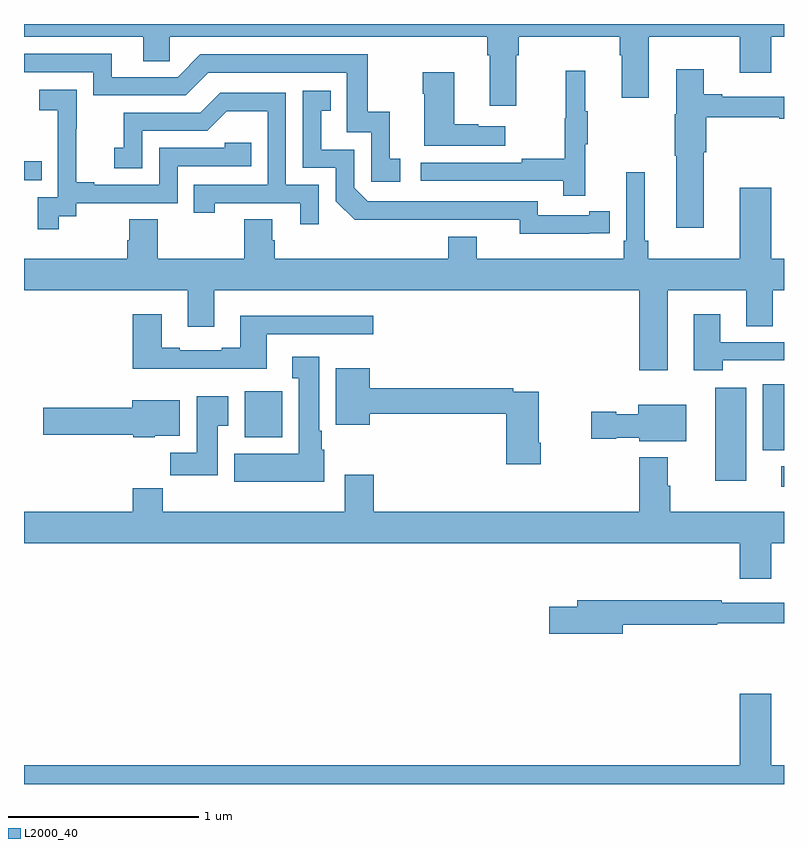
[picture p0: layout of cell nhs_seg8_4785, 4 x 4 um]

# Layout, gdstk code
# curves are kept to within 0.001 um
import gdstk
lib = gdstk.Library(unit=1e-6, precision=1e-09)
def R(c, l, rs):  # rectangles x0, y0, x1, y1
    for r in rs: c.add(gdstk.rectangle(r[:2], r[2:], *l))
def P(c, l, *ps):  # polygons
    for p in ps: c.add(gdstk.Polygon(p, *l))
L2000_40 = (2000, 40)

nhs_seg8_4785 = lib.new_cell('nhs_seg8_4785')
R(nhs_seg8_4785, L2000_40, [(404.985,1115.465,405,1115.572), (404.639,1115.496,404.8,1115.986), (404.888,1115.657,405,1116.004), (402.161,1115.726,402.358,1115.968), (401,1117.077,401.093,1117.178)])
P(nhs_seg8_4785, L2000_40, [(403.591,1117.736),(403.604,1117.736),(403.604,1117.832),(404.135,1117.832),(404.135,1117.736),(404.147,1117.736),(404.147,1117.512),(404.287,1117.512),(404.287,1117.832),(404.768,1117.832),(404.768,1117.644),(404.932,1117.644),(404.932,1117.832),(405,1117.832),(405,1117.9),(401,1117.9),(401,1117.832),(401.627,1117.832),(401.627,1117.705),(401.766,1117.705),(401.766,1117.832),(403.439,1117.832),(403.439,1117.736),(403.451,1117.736),(403.451,1117.47),(403.591,1117.47)],
  [(402.979,1117.191),(402.926,1117.191),(402.926,1117.438),(402.808,1117.438),(402.808,1117.74),(401.928,1117.74),(401.808,1117.62),(401.461,1117.62),(401.461,1117.743),(401,1117.743),(401,1117.647),(401.364,1117.647),(401.364,1117.524),(401.85,1117.524),(401.97,1117.644),(402.699,1117.644),(402.699,1117.329),(402.828,1117.329),(402.828,1117.071),(402.979,1117.071)],
  [(404.578,1117.225),(404.591,1117.225),(404.591,1117.41),(404.974,1117.41),(404.974,1117.402),(405,1117.402),(405,1117.518),(404.674,1117.518),(404.674,1117.531),(404.578,1117.531),(404.578,1117.663),(404.432,1117.663),(404.432,1117.425),(404.425,1117.425),(404.425,1117.207),(404.432,1117.207),(404.432,1116.828),(404.578,1116.828)],
  [(403.955,1117.267),(403.966,1117.267),(403.966,1117.441),(403.955,1117.441),(403.955,1117.654),(403.852,1117.654),(403.852,1117.404),(403.845,1117.404),(403.845,1117.19),(403.621,1117.19),(403.621,1117.17),(403.089,1117.17),(403.089,1117.074),(403.837,1117.074),(403.837,1116.996),(403.955,1116.996)],
  [(403.534,1117.363),(403.391,1117.363),(403.391,1117.373),(403.264,1117.373),(403.264,1117.645),(403.099,1117.645),(403.099,1117.532),(403.106,1117.532),(403.106,1117.259),(403.534,1117.259)],
  [(401.182,1116.889),(401.274,1116.889),(401.274,1116.957),(401.808,1116.957),(401.808,1117.152),(402.197,1117.152),(402.197,1117.275),(402.057,1117.275),(402.057,1117.248),(401.712,1117.248),(401.712,1117.053),(401.371,1117.053),(401.371,1117.066),(401.276,1117.066),(401.276,1117.349),(401.277,1117.349),(401.277,1117.555),(401.079,1117.555),(401.079,1117.445),(401.177,1117.445),(401.177,1117.217),(401.178,1117.217),(401.178,1116.987),(401.073,1116.987),(401.073,1116.819),(401.182,1116.819)],
  [(403.976,1116.798),(404.084,1116.798),(404.084,1116.914),(403.976,1116.914),(403.976,1116.894),(403.704,1116.894),(403.704,1116.966),(402.81,1116.966),(402.738,1117.038),(402.738,1117.239),(402.565,1117.239),(402.565,1117.443),(402.614,1117.443),(402.614,1117.549),(402.468,1117.549),(402.468,1117.143),(402.642,1117.143),(402.642,1116.966),(402.74,1116.869),(403.608,1116.87),(403.608,1116.797)],
  [(402.552,1117.053),(402.378,1117.053),(402.378,1117.539),(402.032,1117.539),(401.927,1117.434),(401.524,1117.434),(401.524,1117.249),(401.475,1117.249),(401.475,1117.14),(401.622,1117.14),(401.622,1117.338),(401.964,1117.338),(402.068,1117.442),(402.282,1117.442),(402.282,1117.053),(401.893,1117.053),(401.893,1116.906),(402.004,1116.906),(402.004,1116.957),(402.455,1116.957),(402.455,1116.846),(402.552,1116.846)],
  [(404.389,1116.5),(404.801,1116.5),(404.801,1116.31),(404.941,1116.31),(404.941,1116.5),(405,1116.5),(405,1116.664),(404.932,1116.664),(404.932,1117.039),(404.768,1117.039),(404.768,1116.664),(404.285,1116.664),(404.285,1116.76),(404.266,1116.76),(404.266,1117.12),(404.169,1117.12),(404.169,1116.76),(404.156,1116.76),(404.156,1116.664),(403.384,1116.664),(403.384,1116.781),(403.232,1116.781),(403.232,1116.664),(402.32,1116.664),(402.32,1116.762),(402.307,1116.762),(402.307,1116.872),(402.16,1116.872),(402.16,1116.664),(401.703,1116.664),(401.703,1116.872),(401.555,1116.872),(401.555,1116.762),(401.543,1116.762),(401.543,1116.664),(401,1116.664),(401,1116.5),(401.861,1116.5),(401.861,1116.306),(402.001,1116.306),(402.001,1116.5),(404.237,1116.5),(404.237,1116.078),(404.389,1116.078)],
  [(402.277,1116.267),(402.838,1116.267),(402.838,1116.364),(402.137,1116.364),(402.137,1116.196),(402.041,1116.196),(402.041,1116.183),(401.821,1116.183),(401.821,1116.196),(401.725,1116.196),(401.725,1116.373),(401.573,1116.373),(401.573,1116.086),(402.277,1116.086)],
  [(404.678,1116.129),(405,1116.129),(405,1116.225),(404.665,1116.225),(404.665,1116.373),(404.525,1116.373),(404.525,1116.078),(404.678,1116.078)],
  [(402.58,1115.658),(402.568,1115.658),(402.568,1115.758),(402.553,1115.758),(402.553,1116.148),(402.413,1116.148),(402.413,1116.035),(402.446,1116.035),(402.446,1115.638),(402.107,1115.638),(402.107,1115.492),(402.58,1115.492)],
  [(403.721,1115.695),(403.708,1115.695),(403.708,1115.964),(403.574,1115.964),(403.574,1115.984),(402.82,1115.984),(402.82,1116.088),(402.641,1116.088),(402.641,1115.792),(402.82,1115.792),(402.82,1115.848),(403.538,1115.848),(403.538,1115.583),(403.721,1115.583)],
  [(402.019,1115.785),(402.076,1115.785),(402.076,1115.941),(401.909,1115.941),(401.909,1115.644),(401.77,1115.644),(401.77,1115.526),(402.019,1115.526)],
  [(401.688,1115.732),(401.821,1115.732),(401.821,1115.92),(401.57,1115.92),(401.57,1115.879),(401.1,1115.879),(401.1,1115.737),(401.574,1115.737),(401.574,1115.726),(401.688,1115.726)],
  [(404.485,1115.896),(404.234,1115.896),(404.234,1115.845),(404.118,1115.845),(404.118,1115.858),(403.986,1115.858),(403.986,1115.716),(404.118,1115.716),(404.118,1115.723),(404.238,1115.723),(404.238,1115.705),(404.485,1115.705)],
  [(404.932,1115.168),(405,1115.168),(405,1115.332),(404.402,1115.332),(404.402,1115.471),(404.389,1115.471),(404.389,1115.62),(404.237,1115.62),(404.237,1115.332),(402.842,1115.332),(402.842,1115.527),(402.689,1115.527),(402.689,1115.332),(401.729,1115.332),(401.729,1115.456),(401.573,1115.456),(401.573,1115.332),(401,1115.332),(401,1115.168),(404.768,1115.168),(404.768,1114.98),(404.932,1114.98)],
  [(404.152,1114.738),(404.648,1114.738),(404.648,1114.746),(405,1114.746),(405,1114.854),(404.672,1114.854),(404.672,1114.867),(403.913,1114.867),(403.913,1114.833),(403.764,1114.833),(403.764,1114.691),(404.152,1114.691)],
  [(405,1114),(404.932,1114),(404.932,1114.375),(404.768,1114.375),(404.768,1114),(401,1114),(401,1113.9),(405,1113.9)])

lib.write_gds('nhs_seg8_4785.gds')
